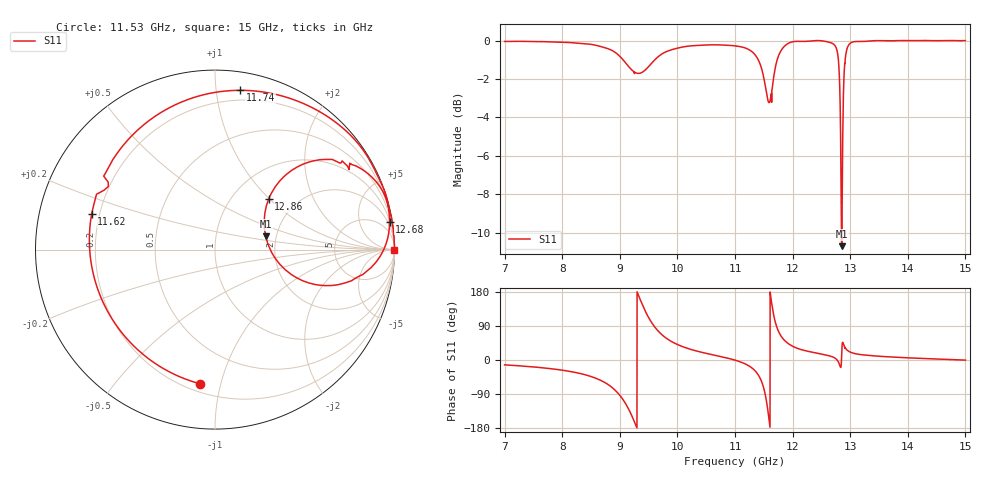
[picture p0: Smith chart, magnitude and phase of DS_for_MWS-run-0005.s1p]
! TOUCHSTONE file generated by CST DESIGN STUDIO
! Date and time: Mon Feb 10 16:45:23 2025
! Project name: C:\Work\MatlabApps\UnitCellType2OptimizationMatlab\CST\unitcell.cst
! Tree item: Tasks\Sweep1\SPara1\S-Parameters
! Header version: 2024
! Port assignment regex: !\s*Touchstone port\s*([0-9]+)\s*=\s*(CST MWS port|CST DES external port|CST DES block port)\s*(.+)\s* \(\"(.*)\"\)(\s*mode\s*([0-9]+))?.*
! Touchstone port assignment:
! Touchstone port 1 = CST DES external port 1 ("")
# GHz S MA R 50
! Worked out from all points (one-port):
!   4001 points, 7 GHz to 15 GHz, reference 50 ohm
!   lowest |S11| = -10.7 dB at 12.85 GHz (marker M1), VSWR 1.82, Z = 87.9 + j14 ohm
!   |S11| at or under -10 dB: 12.84795 GHz to 12.85615 GHz (8.199 MHz wide, 0.0638 % of centre)
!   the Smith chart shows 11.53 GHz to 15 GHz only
!   S11 on the Smith chart (normalised r, x): 11.53 GHz: 0.25, -0.86; 11.62 GHz: 0.17, +0.14; 11.74 GHz: 0.13, +1.16; 12.68 GHz: 1, +12; 12.86 GHz: 1.46, +0.99; 15 GHz: open
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7  0.9946 -12.8
8  0.9901 -26.8
8.634  0.9677 -51.4
9  0.9099 -93.2
9.158  0.854 -131.0
9.322  0.8211 171.6
9.442  0.8382 129.0
9.562  0.8759 96.6
9.762  0.9284 62.7
10  0.9552 40.9
11  0.9687 -0.3
11.368  0.9096 -31.9
11.458  0.849 -55.4
11.532  0.752 -96.5
11.584  0.6906 -148.4
11.624  0.7156 163.8
11.68  0.819 112.3
11.74  0.8987 80.9
11.844  0.9613 54.3
12  0.9925 36.3
12.678  0.9849 9.1
12.808  0.8356 -9.5
12.852  0.2916 14.5
12.862  0.4105 43.3
12.906  0.8722 32.2
13  0.9835 20.9
14  0.9991 5.7
15  0.9997 -0.3
